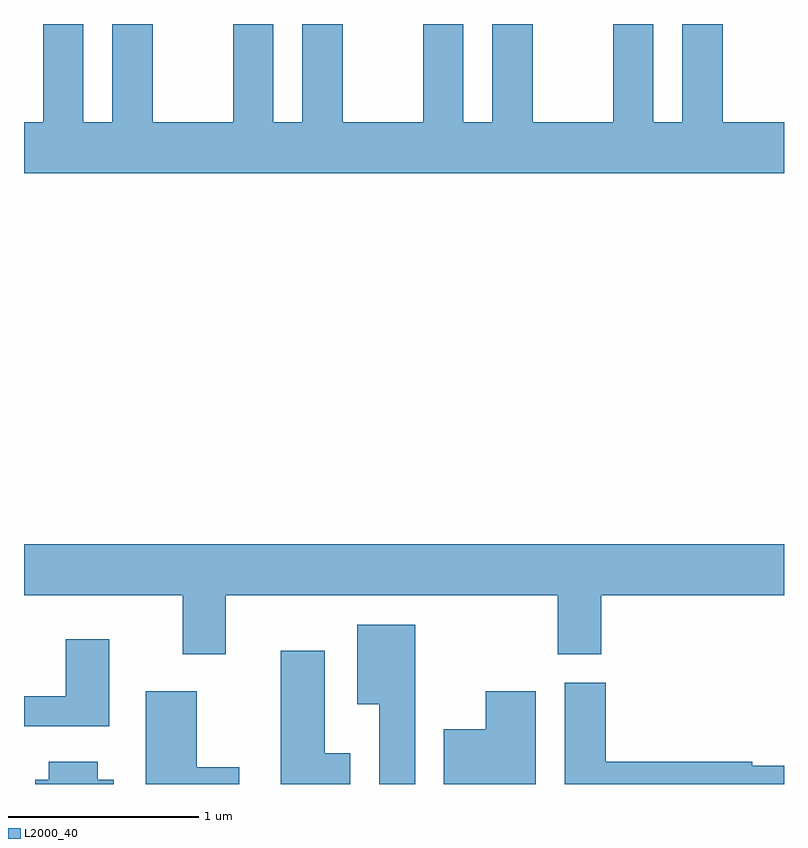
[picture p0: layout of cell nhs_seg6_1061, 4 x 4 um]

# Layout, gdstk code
import gdstk
lib = gdstk.Library(unit=1e-6, precision=1e-09)
def P(c, l, *ps):  # polygons
    for p in ps: c.add(gdstk.Polygon(p, *l))
L2000_40 = (2000, 40)

nhs_seg6_1061 = lib.new_cell('nhs_seg6_1061')
P(nhs_seg6_1061, L2000_40, [(221.611,1543.644),(221.289,1543.644),(221.289,1544.162),(221.076,1544.162),(221.076,1543.644),(220.924,1543.644),(220.924,1544.162),(220.711,1544.162),(220.711,1543.644),(220.289,1543.644),(220.289,1544.162),(220.076,1544.162),(220.076,1543.644),(219.924,1543.644),(219.924,1544.162),(219.711,1544.162),(219.711,1543.644),(219.289,1543.644),(219.289,1544.162),(219.076,1544.162),(219.076,1543.644),(218.924,1543.644),(218.924,1544.162),(218.711,1544.162),(218.711,1543.644),(218.289,1543.644),(218.289,1544.162),(218.076,1544.162),(218.076,1543.644),(217.924,1543.644),(217.924,1544.162),(217.711,1544.162),(217.711,1543.644),(217.611,1543.644),(217.611,1543.376),(221.611,1543.376)],
  [(218.674,1541.156),(220.421,1541.156),(220.421,1540.846),(220.649,1540.846),(220.649,1541.156),(221.611,1541.156),(221.611,1541.424),(217.611,1541.424),(217.611,1541.156),(218.446,1541.156),(218.446,1540.846),(218.674,1540.846)],
  [(219.669,1540.999),(219.366,1540.999),(219.366,1540.581),(219.481,1540.581),(219.481,1540.162),(219.669,1540.162)],
  [(218.059,1540.924),(217.831,1540.924),(217.831,1540.624),(217.611,1540.624),(217.611,1540.466),(218.059,1540.466)],
  [(219.329,1540.324),(219.194,1540.324),(219.194,1540.864),(218.961,1540.864),(218.961,1540.162),(219.329,1540.162)],
  [(221.611,1540.259),(221.444,1540.259),(221.444,1540.279),(220.674,1540.279),(220.674,1540.694),(220.456,1540.694),(220.456,1540.162),(221.611,1540.162)],
  [(218.744,1540.249),(218.519,1540.249),(218.519,1540.649),(218.251,1540.649),(218.251,1540.162),(218.744,1540.162)],
  [(220.304,1540.649),(220.041,1540.649),(220.041,1540.449),(219.821,1540.449),(219.821,1540.162),(220.304,1540.162)],
  [(218.084,1540.184),(217.999,1540.184),(217.999,1540.279),(217.741,1540.279),(217.741,1540.184),(217.671,1540.184),(217.671,1540.162),(218.084,1540.162)])

lib.write_gds('nhs_seg6_1061.gds')
